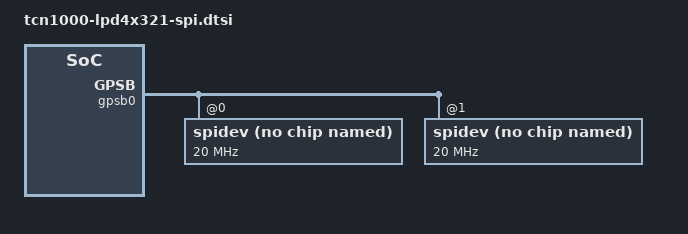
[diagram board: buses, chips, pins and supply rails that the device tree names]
// SPDX-License-Identifier: (GPL-2.0-or-later OR MIT)
/*
 * Copyright (C) Telechips Inc.
 */
#include <dt-bindings/gpio/gpio.h>

&gpsb0 {
	status = "okay";
	gpsb-port = <17>;
	pinctrl-names = "idle", "active", "cs";
	pinctrl-0 = <&gpsb17_bus_idle>;
	pinctrl-1 = <&gpsb17_bus_spi>;
	pinctrl-2 = <&gpsb17_spi_cs>;

	/* cs-gpios */
	cs-gpios = <&gpl 1 GPIO_ACTIVE_LOW>,
		<&gpl 9 GPIO_ACTIVE_LOW>;

	#address-cells = <1>;
	#size-cells = <0>;
	spidev@0 {
		compatible = "rohm,dh2228fv";
		reg = <0>;
		spi-max-frequency = <20000000>;
	};
	spidev@1 {
		compatible = "rohm,dh2228fv";
		reg = <1>;
		spi-max-frequency = <20000000>;
	};
};

&pinctrl {
	gpsb17_bus_spi: gpsb17_bus_spi {
		telechips,pins = "gpl-8", "gpl-10", "gpl-11";
		telechips,pin-function = <2>;
		telechips,input_buffer_enable;
	};

	gpsb17_bus_idle: gpsb17_bus_idle {
		telechips,pins = "gpl-8", "gpl-10", "gpl-11";
		telechips,pin-function = <0>;
		telechips,input_buffer_enable;
	};

	gpsb17_spi_cs: gpsb17_spi_cs {
		telechips,pins = "gpl-1", "gpl-9";
		telechips,pin-function = <0>;
		telechips,input_buffer_enable;
		telechips,output-high;
	};

};
